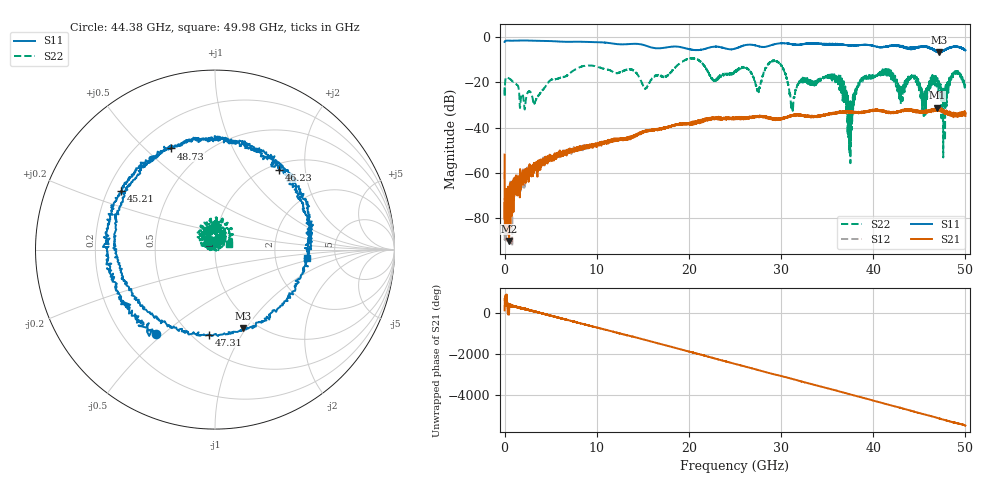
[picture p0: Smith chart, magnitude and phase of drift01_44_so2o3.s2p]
!Created with skrf (http://scikit-rf.org).
# Hz S RI R 50.0
!freq ReS11 ImS11 ReS21 ImS21 ReS12 ImS12 ReS22 ImS22
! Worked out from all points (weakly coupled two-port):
!   10001 points, 300 kHz to 50 GHz, reference 50 ohm
!   highest |S21| = -31.26 dB at 46.93 GHz (marker M1); lowest = -90.4 dB at 490.3 MHz (marker M2)
!   lowest |S11| = -6.6 dB at 47.15 GHz (marker M3), VSWR 2.74, Z = 43.4 - j48.6 ohm
!   |S11| at or under -10 dB: nowhere
!   |S22| runs from -55.8 to -9.2 dB; largest |S21 - S12| = 0.0037
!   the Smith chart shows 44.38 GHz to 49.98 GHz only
!   S11 on the Smith chart (normalised r, x): 44.38 GHz: 0.34, -0.47; 45.21 GHz: 0.25, +0.27; 46.23 GHz: 1.10, +1.46; 47.31 GHz: 0.60, -0.74; 48.73 GHz: 0.33, +0.60; 49.98 GHz: 3.05, -0.40
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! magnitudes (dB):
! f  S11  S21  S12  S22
! 300 kHz  -2.1  -52.0  -59.7  -22.2
! 490.3 MHz  -1.5  -90.4  -73.0  -18.2
! 3.285 GHz  -1.5  -56.9  -57.9  -28.9
! 8.335 GHz  -2.0  -49.3  -49.0  -12.9
! 16.67 GHz  -4.8  -41.0  -41.0  -16.7
! 25 GHz  -5.0  -35.8  -35.9  -15.4
! 29.59 GHz  -2.8  -36.5  -36.5  -10.6
! 31.23 GHz  -3.1  -34.8  -34.6  -31.2
! 33.34 GHz  -2.6  -35.3  -35.1  -19.8
! 36.22 GHz  -3.1  -33.3  -33.3  -20.6
! 37.47 GHz  -3.6  -33.1  -33.2  -32.7
! 38.64 GHz  -3.4  -33.4  -33.1  -20.1
! 41.67 GHz  -3.9  -33.5  -33.2  -15.5
! 44.38 GHz  -4.8  -32.4  -32.5  -17.1
! 45.21 GHz  -4.2  -33.0  -33.1  -23.7
! 46.23 GHz  -4.9  -32.5  -32.2  -19.9
! 46.93 GHz  -6.4  -31.3  -31.7  -19.5
! 47.15 GHz  -6.6  -31.7  -32.1  -19.6
! 47.31 GHz  -6.5  -32.6  -32.3  -20.7
! 48.73 GHz  -4.2  -34.7  -34.1  -15.7
! 49.98 GHz  -5.8  -34.1  -33.3  -21.5
! 50 GHz  -5.7  -34.8  -33.7  -21.6
